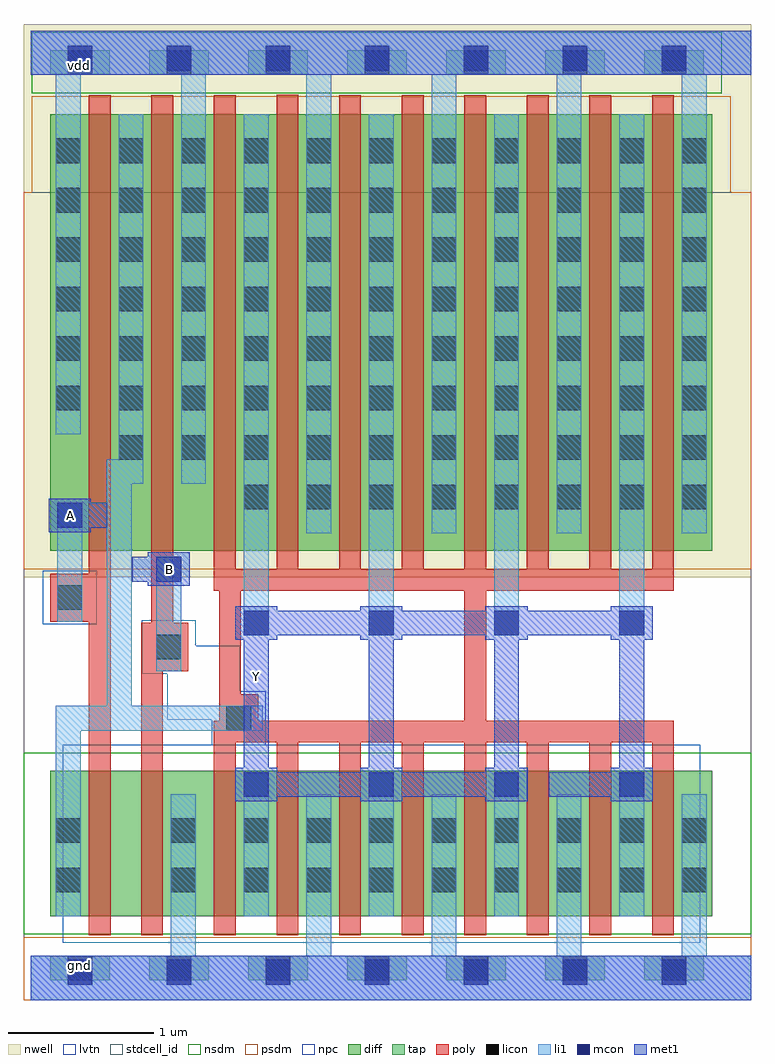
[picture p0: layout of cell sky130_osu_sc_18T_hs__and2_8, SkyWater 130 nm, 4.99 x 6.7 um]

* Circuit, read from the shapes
.subckt sky130_osu_sc_18T_hs__and2_8 A B Y gnd vdd
XM1 n1 A n2 gnd sky130_fd_pr__nfet_01v8_lvt w=1 l=0.15
XM2 gnd B n1 gnd sky130_fd_pr__nfet_01v8_lvt w=1 l=0.15
XM3 Y n2 gnd gnd sky130_fd_pr__nfet_01v8_lvt w=1 l=0.15 m=8
XM4 n2 A vdd vdd sky130_fd_pr__pfet_01v8 w=3 l=0.15
XM5 vdd B n2 vdd sky130_fd_pr__pfet_01v8 w=3 l=0.15
XM6 Y n2 vdd vdd sky130_fd_pr__pfet_01v8 w=3 l=0.15 m=8
.ends

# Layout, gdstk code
import gdstk
lib = gdstk.Library(unit=1e-6, precision=1e-09)
def R(c, l, rs):  # rectangles x0, y0, x1, y1
    for r in rs: c.add(gdstk.rectangle(r[:2], r[2:], *l))
def A(c, l, x, y, w, h, nx, ny, dx, dy):  # array of equal rectangles
    R(c, l, [(x+i*dx, y+j*dy, x+i*dx+w, y+j*dy+h) for i in range(nx) for j in range(ny)])
nwell = (64, 20)
diff = (65, 20)
tap = (65, 44)
poly = (66, 20)
licon = (66, 44)
li1 = (67, 20)
mcon = (67, 44)
met1 = (68, 20)
stdcell_id = (81, 4)
nsdm = (93, 44)
psdm = (94, 20)
npc = (95, 20)
lvtn = (125, 44)

sky130_osu_sc_18t_hs__an = lib.new_cell('sky130_osu_sc_18T_hs__and2_8')
R(sky130_osu_sc_18t_hs__an, nwell, [(-0.045,2.905,4.95,6.705)])
R(sky130_osu_sc_18t_hs__an, diff, [(0.135,0.575,4.685,1.575), (0.135,3.085,4.685,6.085)])
A(sky130_osu_sc_18t_hs__an, tap, 0.135, 0.135, 0.41, 0.17, 7, 2, 0.68, 6.22)
A(sky130_osu_sc_18t_hs__an, poly, 1.26, 0.445, 0.15, 1.325, 8, 1, 0.43, 0)
A(sky130_osu_sc_18t_hs__an, poly, 2.12, 2.96, 0.15, 3.255, 6, 1, 0.43, 0)
R(sky130_osu_sc_18t_hs__an, poly, [(0.4,0.445,0.55,2.6), (0.76,0.445,0.91,2.26), (1.26,1.77,4.42,1.92), (1.295,1.92,1.565,2.1), (2.98,1.92,3.13,2.81), (1.295,2.1,1.445,2.81), (0.76,2.26,1.085,2.59), (0.83,2.59,0.98,6.215), (0.135,2.6,0.55,2.93), (1.26,2.81,4.42,2.96), (0.4,2.93,0.55,6.215), (1.26,2.96,1.41,6.215), (1.69,2.96,1.84,6.22)])
A(sky130_osu_sc_18t_hs__an, licon, 0.255, 0.135, 0.17, 0.17, 7, 2, 0.68, 6.22)
A(sky130_osu_sc_18t_hs__an, licon, 1.465, 0.74, 0.17, 0.17, 8, 2, 0.43, 0.34)
A(sky130_osu_sc_18t_hs__an, licon, 1.465, 3.37, 0.17, 0.17, 8, 1, 0.43, 0)
A(sky130_osu_sc_18t_hs__an, licon, 0.605, 3.71, 0.17, 0.17, 10, 1, 0.43, 0)
A(sky130_osu_sc_18t_hs__an, licon, 0.175, 4.05, 0.17, 0.17, 11, 6, 0.43, 0.34)
R(sky130_osu_sc_18t_hs__an, licon, [(0.175,0.74,0.345,0.91), (0.965,0.74,1.135,0.91), (0.175,1.08,0.345,1.25), (0.965,1.08,1.135,1.25), (1.345,1.85,1.515,2.02), (0.865,2.34,1.035,2.51), (0.185,2.68,0.355,2.85)])
A(sky130_osu_sc_18t_hs__an, li1, 1.895, 0.305, 0.17, 1.11, 4, 1, 0.86, 0)
A(sky130_osu_sc_18t_hs__an, li1, 1.465, 0.575, 0.17, 0.99, 4, 1, 0.86, 0)
A(sky130_osu_sc_18t_hs__an, li1, 1.465, 2.505, 0.17, 3.58, 4, 1, 0.86, 0)
A(sky130_osu_sc_18t_hs__an, li1, 1.895, 3.205, 0.17, 3.15, 4, 1, 0.86, 0)
R(sky130_osu_sc_18t_hs__an, li1, [(0,0,4.95,0.305), (0.965,0.305,1.135,1.415), (0.175,0.575,0.345,1.85), (0.175,1.85,1.595,2.02), (0.525,2.02,0.695,3.545), (0.865,2.26,1.035,3.045), (0.185,2.6,0.355,3.415), (0.525,3.545,0.775,3.715), (1.035,3.545,1.205,6.355), (0.605,3.715,0.775,6.085), (0.175,3.885,0.345,6.355), (0,6.355,4.95,6.66)])
A(sky130_osu_sc_18t_hs__an, mcon, 0.255, 0.105, 0.17, 0.17, 7, 2, 0.68, 6.28)
A(sky130_osu_sc_18t_hs__an, mcon, 1.465, 1.395, 0.17, 0.17, 4, 2, 0.86, 1.11)
R(sky130_osu_sc_18t_hs__an, mcon, [(0.865,2.875,1.035,3.045), (0.185,3.245,0.355,3.415)])
A(sky130_osu_sc_18t_hs__an, met1, 1.405, 1.365, 0.29, 0.03, 4, 2, 0.86, 0.2)
A(sky130_osu_sc_18t_hs__an, met1, 1.465, 1.595, 0.17, 0.88, 4, 1, 0.86, 0)
A(sky130_osu_sc_18t_hs__an, met1, 1.405, 2.475, 0.29, 0.03, 4, 2, 0.86, 0.2)
R(sky130_osu_sc_18t_hs__an, met1, [(0,0,4.95,0.305), (1.405,1.395,3.415,1.565), (3.56,1.395,4.275,1.565), (1.405,2.505,4.275,2.675), (0.805,2.845,1.095,2.875), (0.7,2.875,1.095,3.045), (0.805,3.045,1.095,3.075), (0.125,3.215,0.415,3.245), (0.125,3.245,0.525,3.415), (0.125,3.415,0.415,3.445), (0,6.355,4.95,6.66)])
R(sky130_osu_sc_18t_hs__an, stdcell_id, [(-0.045,0,4.95,5.55)])
R(sky130_osu_sc_18t_hs__an, nsdm, [(-0.045,0.45,4.95,1.7), (0.01,6.23,4.75,6.65)])
R(sky130_osu_sc_18t_hs__an, psdm, [(-0.045,0,4.95,0.43), (-0.045,2.96,4.95,5.55), (0.01,5.55,4.81,6.21)])
R(sky130_osu_sc_18t_hs__an, npc, [(1.245,1.75,1.615,1.925), (0.94,1.925,1.615,2.12), (0.94,2.12,1.44,2.24), (0.765,2.24,1.44,2.435), (0.765,2.435,1.135,2.61), (0.085,2.58,0.455,2.95)])
R(sky130_osu_sc_18t_hs__an, lvtn, [(0.22,0.395,4.6,1.755)])
sky130_osu_sc_18t_hs__an.add(gdstk.Label('gnd', (0.34,0.24), layer=68, texttype=16))
sky130_osu_sc_18t_hs__an.add(gdstk.Label('vdd', (0.34,6.42), layer=68, texttype=16))
sky130_osu_sc_18t_hs__an.add(gdstk.Label('B', (0.955,2.96), layer=68, texttype=5))
sky130_osu_sc_18t_hs__an.add(gdstk.Label('A', (0.275,3.33), layer=68, texttype=5))
sky130_osu_sc_18t_hs__an.add(gdstk.Label('Y', (1.555,2.22), layer=68, texttype=5))

lib.write_gds('sky130_osu_sc_18T_hs__and2_8.gds')
